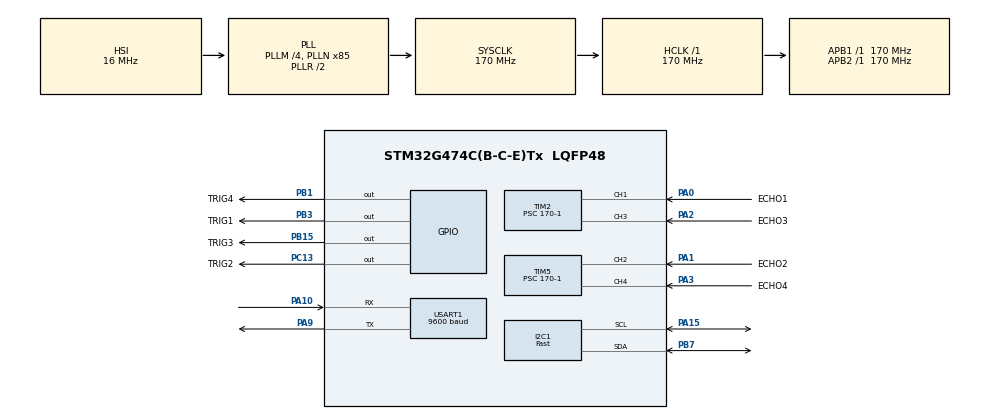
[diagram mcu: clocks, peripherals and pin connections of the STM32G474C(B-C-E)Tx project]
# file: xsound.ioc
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I2C1.I2C_Speed_Mode=I2C_Fast
I2C1.OwnAddress=0x50
I2C1.Timing=0x40621236
Mcu.Family=STM32G4
Mcu.Name=STM32G474C(B-C-E)Tx
Mcu.Package=LQFP48
NVIC.I2C1_ER_IRQn=true\:3\:0\:true\:false\:true\:true\:true\:true
NVIC.I2C1_EV_IRQn=true\:2\:0\:true\:false\:true\:true\:true\:true
NVIC.PriorityGroup=NVIC_PRIORITYGROUP_4
NVIC.TIM2_IRQn=true\:0\:0\:false\:false\:true\:true\:true\:true
NVIC.TIM5_IRQn=true\:0\:0\:false\:false\:true\:true\:true\:true
PA0.GPIO_Label=ECHO1
PA0.Signal=S_TIM2_CH1
PA1.GPIO_Label=ECHO2
PA1.Signal=S_TIM5_CH2
PA10.Mode=Asynchronous
PA10.Signal=USART1_RX
PA13.Mode=Serial_Wire
PA13.Signal=SYS_JTMS-SWDIO
PA14.Mode=Serial_Wire
PA14.Signal=SYS_JTCK-SWCLK
PA15.Mode=I2C
PA15.Signal=I2C1_SCL
PA2.GPIO_Label=ECHO3
PA2.Signal=S_TIM2_CH3
PA3.GPIO_Label=ECHO4
PA3.Signal=S_TIM5_CH4
PA9.Mode=Asynchronous
PA9.Signal=USART1_TX
PB1.GPIO_Label=TRIG4
PB1.Signal=GPIO_Output
PB15.GPIO_Label=TRIG3
PB15.Signal=GPIO_Output
PB3.GPIO_Label=TRIG1
PB3.Signal=GPIO_Output
PB7.Mode=I2C
PB7.Signal=I2C1_SDA
PC13.GPIO_Label=TRIG2
PC13.Signal=GPIO_Output
PF0-OSC_IN.Mode=HSE-External-Oscillator
PF0-OSC_IN.Signal=RCC_OSC_IN
PF1-OSC_OUT.Mode=HSE-External-Oscillator
PF1-OSC_OUT.Signal=RCC_OSC_OUT
ProjectManager.HeapSize=0x200
ProjectManager.StackSize=0x400
ProjectManager.TargetToolchain=CMake
RCC.ADC12Freq_Value=170000000
RCC.ADC345Freq_Value=170000000
RCC.AHBFreq_Value=170000000
RCC.APB1Freq_Value=170000000
RCC.APB1TimFreq_Value=170000000
RCC.APB2Freq_Value=170000000
RCC.APB2TimFreq_Value=170000000
RCC.CortexFreq_Value=170000000
RCC.EXTERNAL_CLOCK_VALUE=12288000
RCC.HCLKFreq_Value=170000000
RCC.HSE_VALUE=8000000
RCC.HSI48_VALUE=48000000
RCC.HSI_VALUE=16000000
RCC.LSE_VALUE=32768
RCC.PLLM=RCC_PLLM_DIV4
RCC.PLLN=85
RCC.SYSCLKFreq_VALUE=170000000
RCC.SYSCLKSource=RCC_SYSCLKSOURCE_PLLCLK
RCC.USBFreq_Value=170000000
RCC.VCOOutputFreq_Value=340000000
SH.S_TIM2_CH1.0=TIM2_CH1,Input_Capture1_from_TI1
SH.S_TIM2_CH3.0=TIM2_CH3,Input_Capture3_from_TI3
SH.S_TIM5_CH2.0=TIM5_CH2,Input_Capture2_from_TI2
SH.S_TIM5_CH4.0=TIM5_CH4,Input_Capture4_from_TI4
TIM2.Channel-Input_Capture1_from_TI1=TIM_CHANNEL_1
TIM2.Channel-Input_Capture2_from_TI1_63=TIM_CHANNEL_2
TIM2.Channel-Input_Capture3_from_TI3=TIM_CHANNEL_3
TIM2.Channel-Input_Capture4_from_TI3_63=TIM_CHANNEL_4
TIM2.ICPolarity_CH2=TIM_INPUTCHANNELPOLARITY_FALLING
TIM2.ICPolarity_CH4=TIM_INPUTCHANNELPOLARITY_FALLING
TIM2.Prescaler=170-1
TIM5.Channel-Input_Capture1_from_TI2_63=TIM_CHANNEL_1
TIM5.Channel-Input_Capture2_from_TI2=TIM_CHANNEL_2
TIM5.Channel-Input_Capture3_from_TI4_63=TIM_CHANNEL_3
TIM5.Channel-Input_Capture4_from_TI4=TIM_CHANNEL_4
TIM5.ICPolarity_CH1=TIM_INPUTCHANNELPOLARITY_FALLING
TIM5.ICPolarity_CH3=TIM_INPUTCHANNELPOLARITY_FALLING
TIM5.Prescaler=170-1
USART1.BaudRate=9600
USART1.VirtualMode-Asynchronous=VM_ASYNC
VP_SYS_VS_DBSignals.Mode=DisableDeadBatterySignals
VP_TIM2_VS_ClockSourceINT.Mode=Internal
VP_TIM2_VS_indirect_ch1.Mode=Input_Capture2_from_TI1_63
VP_TIM2_VS_indirect_ch3.Mode=Input_Capture4_from_TI3_63
VP_TIM5_VS_ClockSourceINT.Mode=Internal
VP_TIM5_VS_indirect_ch2.Mode=Input_Capture1_from_TI2_63
VP_TIM5_VS_indirect_ch4.Mode=Input_Capture3_from_TI4_63
board=custom

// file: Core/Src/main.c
/* USER CODE BEGIN Header */
/**
  ******************************************************************************
  * @file           : main.c
  * @brief          : Main program body
  ******************************************************************************
  * @attention
  *
  * Copyright (c) 2026 STMicroelectronics.
  * All rights reserved.
  *
  * This software is licensed under terms that can be found in the LICENSE file
  * in the root directory of this software component.
  * If no LICENSE file comes with this software, it is provided AS-IS.
  *
  ******************************************************************************
  */
/* USER CODE END Header */
#include "main.h"
#include "i2c.h"
#include "tim.h"
#include "usart.h"
#include "gpio.h"

/* USER CODE BEGIN Includes */
#include <stdio.h>
#include "xsound.h"
#include "i2c_slave.h"
/* USER CODE END Includes */

void SystemClock_Config(void);

/* USER CODE BEGIN 0 */
void setBoot0(void) {
  // 檢查並設定 BOOT0 選項位元組
  FLASH_OBProgramInitTypeDef OBInit;

  // 讀取當前選項位元組
  HAL_FLASHEx_OBGetConfig(&OBInit);

  // 檢查是否需要修改 BOOT0 設定
  uint32_t currentUserConfig = OBInit.USERConfig;

  // 檢查 nSWBOOT0 和 nBOOT0 位元
  if ((currentUserConfig & FLASH_OPTR_nSWBOOT0) || !(currentUserConfig & FLASH_OPTR_nBOOT0))
  {
    // 需要設定：nSWBOOT0=0 (軟體控制) 和 nBOOT0=1 (BOOT0=0，從主快閃記憶體啟動)

    HAL_FLASH_Unlock();
    HAL_FLASH_OB_Unlock();

    OBInit.OptionType = OPTIONBYTE_USER;
    OBInit.USERType = OB_USER_nSWBOOT0 | OB_USER_nBOOT0;

    // 清除 nSWBOOT0 (設為0) 並設定 nBOOT0 (設為1)
    OBInit.USERConfig = (currentUserConfig & ~FLASH_OPTR_nSWBOOT0) | FLASH_OPTR_nBOOT0;

    if (HAL_FLASHEx_OBProgram(&OBInit) == HAL_OK)
    {
      HAL_FLASH_OB_Lock();
      HAL_FLASH_Lock();

      // 重新啟動以應用新的選項位元組
      HAL_FLASH_OB_Launch();
    }
    else
    {
      HAL_FLASH_OB_Lock();
      HAL_FLASH_Lock();
      Error_Handler();
    }
  }
}
/* USER CODE END 0 */

int main(void)
{

  /* MCU Configuration--------------------------------------------------------*/

  /* Reset of all peripherals, Initializes the Flash interface and the Systick. */
  HAL_Init();

  /* USER CODE BEGIN Init */
  // setBoot0();  // 只在第一次燒錄時需要，之後可以註解掉
  /* USER CODE END Init */

  /* Configure the system clock */
  SystemClock_Config();

  /* Initialize all configured peripherals */
  MX_GPIO_Init();
  MX_TIM2_Init();
  MX_TIM5_Init();
  MX_I2C1_Init();
  MX_USART1_UART_Init();
  /* USER CODE BEGIN 2 */

  // Initialize 4 ultrasonic sensors
  XSound_Init(0, &htim2, TIM_CHANNEL_1, TIM_CHANNEL_2);  // ECHO1 on PA0, use TRIG1 on PB3
  XSound_Init(1, &htim5, TIM_CHANNEL_2, TIM_CHANNEL_1);  // ECHO2 on PA1, use TRIG2 on PC13
  XSound_Init(2, &htim2, TIM_CHANNEL_3, TIM_CHANNEL_4);  // ECHO3 on PA2, use TRIG3 on PB15
  XSound_Init(3, &htim5, TIM_CHANNEL_4, TIM_CHANNEL_3);  // ECHO4 on PA3, use TRIG4 on PB1

  // Initialize I2C Slave
  I2C_Slave_Init(&hi2c1);

  /* USER CODE END 2 */

  /* Infinite loop */
  /* USER CODE BEGIN WHILE */
  while (1) {
    // print a message every 2 seconds to indicate the system is running
    // static uint32_t lastPrintTime = 0;
    // uint32_t currentTime = HAL_GetTick();
    // if (currentTime - lastPrintTime >= 2000) {
    //   lastPrintTime = currentTime;
    //   const char* msg = "System running...\r\n";
    //   HAL_UART_Transmit(&huart1, (uint8_t*)msg, strlen(msg), 100);
    // }
    /* USER CODE END WHILE */

    /* USER CODE BEGIN 3 */

    // Trigger all sensors sequentially with shorter delays
    const uint32_t DELAY_MS = 30; // 30ms delay between triggers (enough for ~500cm range)
    XSound_Trig(0, TRIG1_GPIO_Port, TRIG1_Pin);
    HAL_Delay(DELAY_MS);

    XSound_Trig(1, TRIG2_GPIO_Port, TRIG2_Pin);
    HAL_Delay(DELAY_MS);

    XSound_Trig(2, TRIG3_GPIO_Port, TRIG3_Pin);
    HAL_Delay(DELAY_MS);

    XSound_Trig(3, TRIG4_GPIO_Port, TRIG4_Pin);
    HAL_Delay(DELAY_MS);

    // Update all sensor distances
    XSound_UpdateAllDistances();

    updateTxBuffer((uint8_t*)XSound_GetAllDistances(), XSOUND_NUM_SENSORS * sizeof(float));

    // uart print all distances for debugging
    // float* distances = XSound_GetAllDistances();
    // char uartBuf[128];
    // int len = sprintf(uartBuf, "Front:%.2f Right:%.2f Left:%.2f Back:%.2f cm\r\n",
    //                  distances[3], distances[1], distances[2], distances[0]);
    // HAL_UART_Transmit(&huart1, (uint8_t*)uartBuf, len, 100);

  }
  /* USER CODE END 3 */
}

void SystemClock_Config(void)
{
  RCC_OscInitTypeDef RCC_OscInitStruct = {0};
  RCC_ClkInitTypeDef RCC_ClkInitStruct = {0};

  /** Configure the main internal regulator output voltage
  */
  HAL_PWREx_ControlVoltageScaling(PWR_REGULATOR_VOLTAGE_SCALE1_BOOST);

  /** Initializes the RCC Oscillators according to the specified parameters
  * in the RCC_OscInitTypeDef structure.
  */
  RCC_OscInitStruct.OscillatorType = RCC_OSCILLATORTYPE_HSI;
  RCC_OscInitStruct.HSIState = RCC_HSI_ON;
  RCC_OscInitStruct.HSICalibrationValue = RCC_HSICALIBRATION_DEFAULT;
  RCC_OscInitStruct.PLL.PLLState = RCC_PLL_ON;
  RCC_OscInitStruct.PLL.PLLSource = RCC_PLLSOURCE_HSI;
  RCC_OscInitStruct.PLL.PLLM = RCC_PLLM_DIV4;
  RCC_OscInitStruct.PLL.PLLN = 85;
  RCC_OscInitStruct.PLL.PLLP = RCC_PLLP_DIV2;
  RCC_OscInitStruct.PLL.PLLQ = RCC_PLLQ_DIV2;
  RCC_OscInitStruct.PLL.PLLR = RCC_PLLR_DIV2;
  if (HAL_RCC_OscConfig(&RCC_OscInitStruct) != HAL_OK)
  {
    Error_Handler();
  }

  /** Initializes the CPU, AHB and APB buses clocks
  */
  RCC_ClkInitStruct.ClockType = RCC_CLOCKTYPE_HCLK|RCC_CLOCKTYPE_SYSCLK
                              |RCC_CLOCKTYPE_PCLK1|RCC_CLOCKTYPE_PCLK2;
  RCC_ClkInitStruct.SYSCLKSource = RCC_SYSCLKSOURCE_PLLCLK;
  RCC_ClkInitStruct.AHBCLKDivider = RCC_SYSCLK_DIV1;
  RCC_ClkInitStruct.APB1CLKDivider = RCC_HCLK_DIV1;
  RCC_ClkInitStruct.APB2CLKDivider = RCC_HCLK_DIV1;

  if (HAL_RCC_ClockConfig(&RCC_ClkInitStruct, FLASH_LATENCY_4) != HAL_OK)
  {
    Error_Handler();
  }
}

void Error_Handler(void)
{
  __disable_irq();
  while (1)
  {
  }
}
